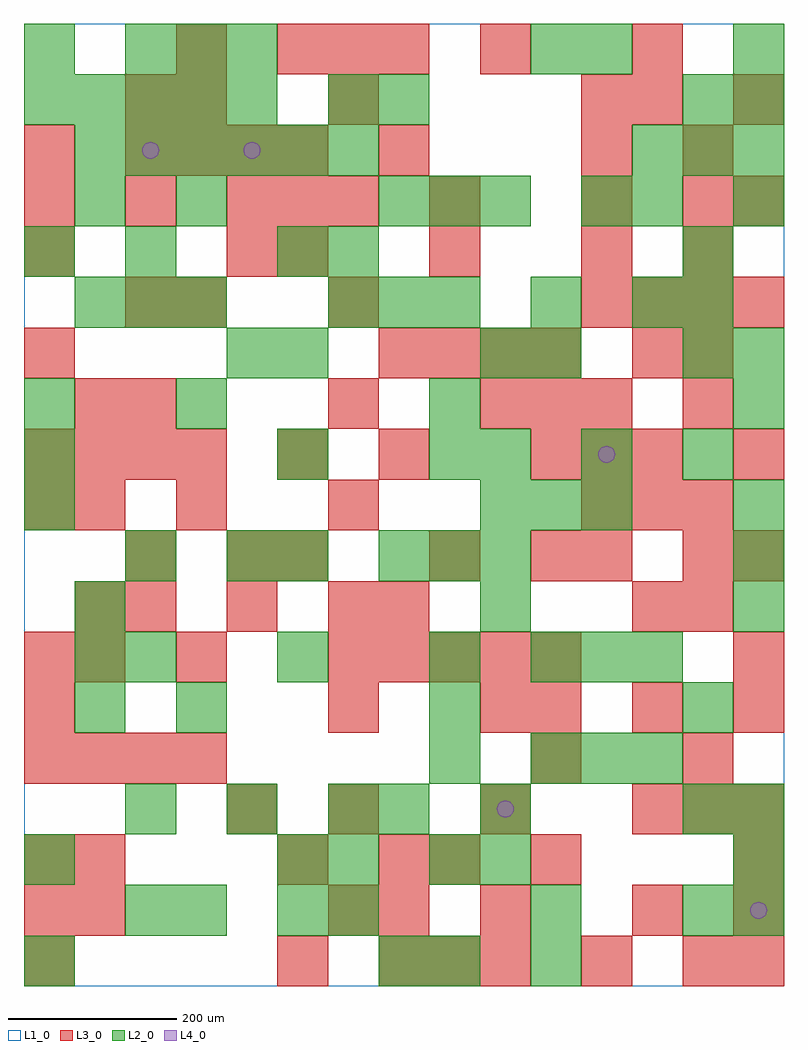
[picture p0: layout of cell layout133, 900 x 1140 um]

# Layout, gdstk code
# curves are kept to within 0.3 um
import gdstk
lib = gdstk.Library(unit=1e-6, precision=1e-09)
def R(c, l, rs):  # rectangles x0, y0, x1, y1
    for r in rs: c.add(gdstk.rectangle(r[:2], r[2:], *l))
def A(c, l, x, y, w, h, nx, ny, dx, dy):  # array of equal rectangles
    R(c, l, [(x+i*dx, y+j*dy, x+i*dx+w, y+j*dy+h) for i in range(nx) for j in range(ny)])
def P(c, l, *ps):  # polygons
    for p in ps: c.add(gdstk.Polygon(p, *l))
L1_0 = (1, 0)
L2_0 = (2, 0)
L3_0 = (3, 0)
L4_0 = (4, 0)

layout133 = lib.new_cell('layout133')
R(layout133, L1_0, [(0,0,900,1140)])
A(layout133, L2_0, 480, 0, 60, 60, 1, 3, 0, 120)
A(layout133, L2_0, 840, 60, 60, 60, 1, 3, 0, 60)
A(layout133, L2_0, 120, 180, 60, 60, 3, 1, 120, 0)
A(layout133, L2_0, 600, 240, 60, 60, 3, 2, 60, 120)
A(layout133, L2_0, 60, 300, 60, 60, 1, 3, 0, 60)
A(layout133, L2_0, 180, 300, 60, 60, 3, 1, 300, 0)
A(layout133, L2_0, 120, 360, 60, 60, 3, 1, 180, 0)
A(layout133, L2_0, 840, 420, 60, 60, 1, 3, 0, 60)
A(layout133, L2_0, 300, 480, 60, 60, 1, 4, 0, 120)
A(layout133, L2_0, 420, 480, 60, 60, 3, 2, 60, 420)
A(layout133, L2_0, 0, 540, 60, 60, 1, 3, 0, 60)
A(layout133, L2_0, 540, 540, 60, 60, 3, 1, 60, 0)
A(layout133, L2_0, 540, 600, 60, 60, 3, 1, 120, 0)
A(layout133, L2_0, 780, 720, 60, 60, 1, 3, 0, 60)
A(layout133, L2_0, 60, 780, 60, 60, 3, 1, 60, 0)
A(layout133, L2_0, 360, 780, 60, 60, 3, 1, 60, 0)
A(layout133, L2_0, 60, 960, 60, 60, 6, 1, 60, 0)
A(layout133, L2_0, 720, 960, 60, 60, 3, 1, 60, 0)
A(layout133, L2_0, 0, 1020, 60, 60, 5, 1, 60, 0)
A(layout133, L2_0, 120, 1080, 60, 60, 3, 1, 60, 0)
R(layout133, L2_0, [(0,0,60,60), (420,0,480,60), (600,0,660,60), (120,60,180,120), (180,60,240,120), (300,60,360,120), (360,60,420,120), (600,60,660,120), (780,60,840,120), (0,120,60,180), (300,120,360,180), (360,120,420,180), (540,120,600,180), (420,180,480,240), (540,180,600,240), (780,180,840,240), (540,420,600,480), (120,480,180,540), (240,480,300,540), (480,600,540,660), (180,660,240,720), (480,660,540,720), (840,660,900,720), (240,720,300,780), (540,720,600,780), (600,720,660,780), (840,720,900,780), (600,780,660,840), (720,780,780,840), (0,840,60,900), (120,840,180,900), (360,840,420,900), (60,900,120,960), (180,900,240,960), (660,900,720,960), (720,900,780,960), (840,900,900,960), (360,1020,420,1080), (420,1020,480,1080), (780,1020,840,1080), (840,1020,900,1080), (0,1080,60,1140), (600,1080,660,1140), (660,1080,720,1140), (840,1080,900,1140)])
A(layout133, L3_0, 0, 0, 60, 60, 1, 3, 0, 60)
A(layout133, L3_0, 420, 0, 60, 60, 3, 1, 60, 0)
A(layout133, L3_0, 840, 0, 60, 60, 1, 4, 0, 60)
A(layout133, L3_0, 360, 60, 60, 60, 1, 3, 0, 240)
A(layout133, L3_0, 360, 180, 60, 60, 3, 1, 180, 0)
A(layout133, L3_0, 0, 240, 60, 60, 4, 2, 60, 360)
A(layout133, L3_0, 600, 300, 60, 60, 3, 1, 120, 0)
A(layout133, L3_0, 0, 360, 60, 60, 1, 3, 0, 180)
A(layout133, L3_0, 360, 360, 60, 60, 5, 1, 60, 0)
A(layout133, L3_0, 840, 360, 60, 60, 1, 3, 0, 120)
A(layout133, L3_0, 60, 420, 60, 60, 1, 3, 0, 120)
A(layout133, L3_0, 120, 420, 60, 60, 3, 1, 120, 0)
A(layout133, L3_0, 720, 420, 60, 60, 1, 3, 0, 300)
A(layout133, L3_0, 180, 540, 60, 60, 1, 3, 0, 240)
A(layout133, L3_0, 660, 540, 60, 60, 3, 1, 60, 0)
A(layout133, L3_0, 600, 600, 60, 60, 3, 1, 60, 0)
A(layout133, L3_0, 360, 660, 60, 60, 1, 4, 0, 120)
A(layout133, L3_0, 540, 660, 60, 60, 3, 1, 60, 0)
A(layout133, L3_0, 420, 720, 60, 60, 4, 1, 60, 0)
A(layout133, L3_0, 660, 780, 60, 60, 4, 1, 60, 0)
A(layout133, L3_0, 300, 840, 60, 60, 3, 1, 180, 0)
A(layout133, L3_0, 780, 840, 60, 60, 1, 3, 0, 60)
A(layout133, L3_0, 0, 900, 60, 60, 3, 1, 120, 0)
A(layout133, L3_0, 660, 900, 60, 60, 1, 3, 0, 60)
A(layout133, L3_0, 120, 960, 60, 60, 4, 1, 60, 0)
A(layout133, L3_0, 300, 1080, 60, 60, 3, 1, 60, 0)
R(layout133, L3_0, [(300,0,360,60), (660,0,720,60), (780,0,840,60), (60,60,120,120), (420,60,480,120), (540,60,600,120), (720,60,780,120), (60,120,120,180), (300,120,360,180), (420,120,480,180), (480,120,540,180), (600,120,660,180), (240,180,300,240), (780,180,840,240), (600,240,660,300), (780,240,840,300), (0,300,60,360), (540,300,600,360), (60,360,120,420), (180,360,240,420), (420,420,480,480), (780,420,840,480), (120,480,180,540), (240,480,300,540), (300,480,360,540), (480,480,540,540), (600,480,660,540), (660,480,720,540), (780,480,840,540), (300,600,360,660), (420,600,480,660), (120,660,180,720), (780,660,840,720), (780,720,840,780), (120,780,180,840), (0,840,60,900), (240,840,300,900), (300,900,360,960), (480,900,540,960), (840,900,900,960), (0,960,60,1020), (420,960,480,1020), (120,1020,180,1080), (840,1020,900,1080), (180,1080,240,1140), (540,1080,600,1140), (720,1080,780,1140)])
P(layout133, L4_0, [(160,990),(159.239,993.827),(157.071,997.071),(153.827,999.239),(150,1000),(146.173,999.239),(142.929,997.071),(140.761,993.827),(140,990),(140.761,986.173),(142.929,982.929),(146.173,980.761),(150,980),(153.827,980.761),(157.071,982.929),(159.239,986.173)],
  [(280,990),(279.239,993.827),(277.071,997.071),(273.827,999.239),(270,1000),(266.173,999.239),(262.929,997.071),(260.761,993.827),(260,990),(260.761,986.173),(262.929,982.929),(266.173,980.761),(270,980),(273.827,980.761),(277.071,982.929),(279.239,986.173)],
  [(580,210),(579.239,213.827),(577.071,217.071),(573.827,219.239),(570,220),(566.173,219.239),(562.929,217.071),(560.761,213.827),(560,210),(560.761,206.173),(562.929,202.929),(566.173,200.761),(570,200),(573.827,200.761),(577.071,202.929),(579.239,206.173)],
  [(700,630),(699.239,633.827),(697.071,637.071),(693.827,639.239),(690,640),(686.173,639.239),(682.929,637.071),(680.761,633.827),(680,630),(680.761,626.173),(682.929,622.929),(686.173,620.761),(690,620),(693.827,620.761),(697.071,622.929),(699.239,626.173)],
  [(880,90),(879.239,93.827),(877.071,97.071),(873.827,99.239),(870,100),(866.173,99.239),(862.929,97.071),(860.761,93.827),(860,90),(860.761,86.173),(862.929,82.929),(866.173,80.761),(870,80),(873.827,80.761),(877.071,82.929),(879.239,86.173)])

lib.write_gds('layout133.gds')
